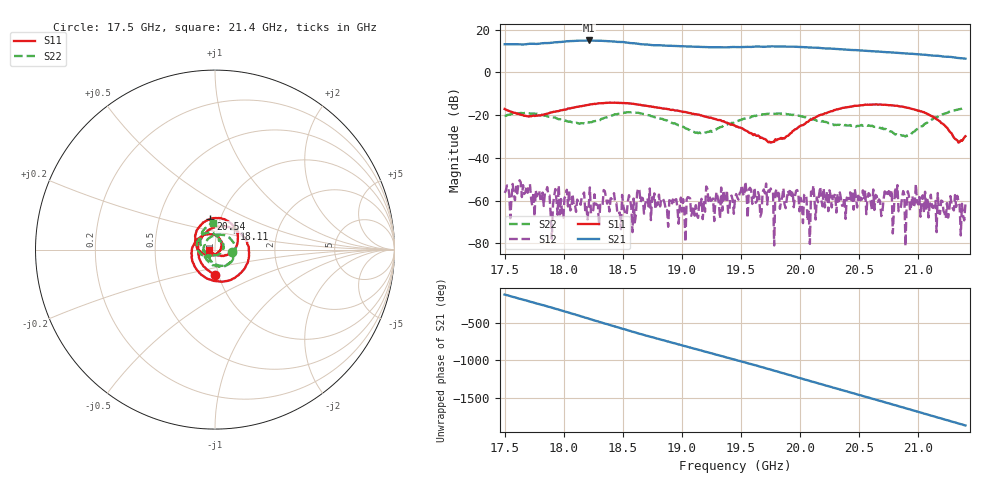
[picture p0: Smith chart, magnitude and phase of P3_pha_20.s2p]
!Created with skrf (http://scikit-rf.org).
# GHz S RI R 50.0
!freq ReS11 ImS11 ReS21 ImS21 ReS12 ImS12 ReS22 ImS22
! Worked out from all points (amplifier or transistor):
!   401 points, 17.5 GHz to 21.4 GHz, reference 50 ohm
!   highest |S21| = 14.9 dB at 18.21 GHz (marker M1)
!   |S21| within 3 dB of that: start of sweep to 19.13 GHz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
!   unconditionally stable (mu >= 1): start of sweep to end of sweep
!   at 18.14 GHz: K = 109.45, MAG = 15.0 dB, |S12| = -61.9 dB
!   at 19.45 GHz: K = 109.75, MAG = 11.9 dB, |S12| = -58.8 dB
!   at 21.4 GHz: K = 279.92, MAG = 6.5 dB, |S12| = -61.6 dB
!   S11 on the Smith chart (normalised r, x): 17.5 GHz: 0.96, -0.27; 18.11 GHz: 1.20, +0.29; 20.54 GHz: 0.90, +0.32; 21.4 GHz: 0.94, -0.01
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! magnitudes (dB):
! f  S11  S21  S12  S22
! 17.5 GHz  -17.1  13.2  -56.4  -20.4
! 17.86 GHz  -19.4  13.7  -53.7  -20.6
! 17.9 GHz  -18.7  13.9  -77.9  -21.1
! 18.11 GHz  -16.1  14.8  -59.5  -23.6
! 18.15 GHz  -15.8  14.9  -58.0  -23.8
! 18.21 GHz  -15.2  14.9  -62.6  -23.4
! 18.36 GHz  -14.3  14.6  -58.5  -21.0
! 18.59 GHz  -14.7  13.6  -59.0  -18.8
! 18.64 GHz  -15.1  13.2  -55.2  -19.0
! 18.81 GHz  -16.6  12.7  -57.2  -21.5
! 19.16 GHz  -20.1  11.9  -62.1  -28.4
! 19.23 GHz  -21.0  11.8  -60.1  -27.8
! 19.45 GHz  -24.9  11.9  -58.8  -23.0
! 19.52 GHz  -26.4  11.9  -56.9  -21.8
! 19.76 GHz  -32.7  12.2  -55.7  -19.5
! 20.1 GHz  -21.9  11.6  -58.2  -22.1
! 20.54 GHz  -15.2  10.1  -59.4  -24.9
! 20.68 GHz  -15.0  9.7  -60.3  -26.0
! 20.76 GHz  -15.4  9.4  -54.7  -27.5
! 20.91 GHz  -16.6  8.8  -55.6  -29.8
! 20.99 GHz  -17.7  8.5  -60.8  -26.6
! 21.4 GHz  -29.9  6.4  -61.6  -16.6
